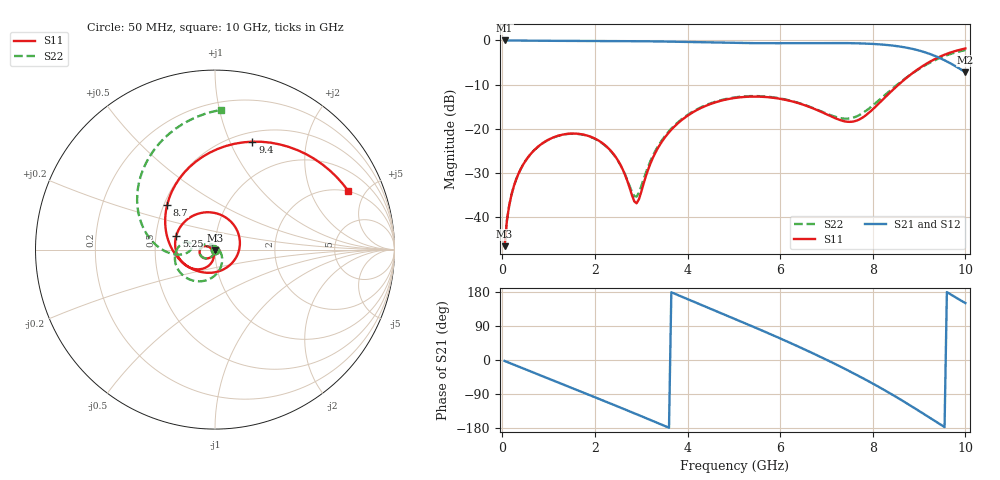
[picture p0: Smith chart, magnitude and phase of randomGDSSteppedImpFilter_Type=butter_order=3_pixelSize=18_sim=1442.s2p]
! freq	dB(S11)	phase(S11)	dB(S12)	phase(S12)
!  dB(S21)	phase(S21)	dB(S22)	phase(S22)
!S-par simulation data
#  GHz  S  DB  R 50
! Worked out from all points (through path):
!   200 points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, 50 MHz to 10 GHz, reference 50 ohm
!   highest |S21| = 0.00 dB at 50 MHz (marker M1); lowest = -7.2 dB at 10 GHz (marker M2)
!   group delay of S21, straight-line fit = 154 ps
!   lowest |S11| = -46.7 dB at 50 MHz (marker M3), VSWR 1.01, Z = 50 - j0.464 ohm
!   |S11| at or under -10 dB: start of sweep to 8.56 GHz
!   |S22| runs from -46.7 to -2.2 dB; largest |S21 - S12| = 0
!   S11 on the Smith chart (normalised r, x): 50 MHz: 1.00, -0.01; 5.25 GHz: 0.64, +0.10; 8.7 GHz: 0.52, +0.30; 9.4 GHz: 0.60, +1.22; 10 GHz: 1.97, +3.77
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0.05  -46.66 -89.6  -0.00 -2.5  -0.00 -2.5  -46.66 -89.9
0.1  -40.83 -93.2  -0.01 -5.0  -0.01 -5.0  -40.83 -93.3
0.2  -34.93 -99.3  -0.02 -9.9  -0.02 -9.9  -34.94 -99.3
0.55  -26.58 -117.7  -0.05 -27.1  -0.05 -27.1  -26.59 -117.7
1.1  -22.01 -144.8  -0.09 -54.0  -0.09 -54.0  -22.03 -145.3
1.75  -21.36 -175.8  -0.13 -85.9  -0.13 -85.9  -21.39 -178.8
2.4  -25.74 158.3  -0.15 -118.0  -0.15 -118.0  -25.80 141.3
2.9  -36.94 -149.5  -0.17 -143.1  -0.17 -143.1  -35.40 37.7
3.4  -23.71 -102.4  -0.23 -168.5  -0.23 -168.5  -23.37 -53.8
4.15  -16.09 -136.3  -0.39 153.1  -0.39 153.1  -15.92 -97.4
5.05  -13.01 172.9  -0.58 106.9  -0.58 106.9  -12.88 -138.8
5.25  -12.80 160.6  -0.60 96.6  -0.60 96.6  -12.67 -147.2
5.95  -13.15 113.5  -0.63 59.7  -0.63 59.7  -13.06 -173.8
6.7  -15.36 50.4  -0.59 18.1  -0.59 18.1  -15.29 166.6
7.1  -17.23 5.2  -0.58 -5.3  -0.58 -5.3  -16.99 165.7
7.5  -18.47 -55.4  -0.61 -29.8  -0.61 -29.8  -17.69 176.3
7.95  -16.11 -131.3  -0.76 -58.8  -0.76 -58.8  -15.19 -172.0
8.35  -12.05 175.1  -1.07 -86.3  -1.07 -86.3  -11.59 -176.6
8.7  -8.73 136.7  -1.58 -111.8  -1.58 -111.8  -8.63 170.1
9.05  -6.00 102.4  -2.44 -138.4  -2.44 -138.4  -6.14 151.1
9.4  -3.92 70.9  -3.77 -165.5  -3.77 -165.5  -4.20 128.6
10  -1.82 23.8  -7.23 150.2  -7.23 150.2  -2.17 87.6
